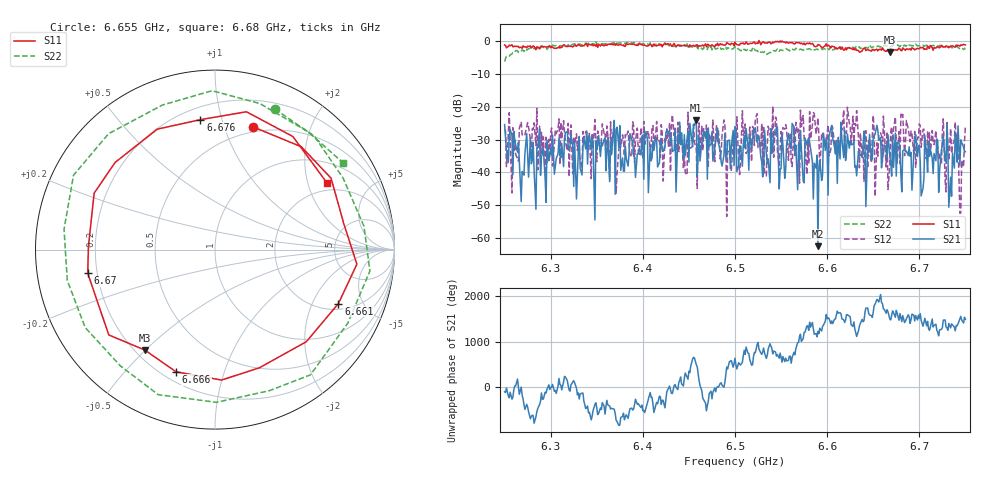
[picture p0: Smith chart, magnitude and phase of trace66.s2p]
# Hz S RI R 50
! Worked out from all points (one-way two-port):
!   401 points, 6.25 GHz to 6.75 GHz, reference 50 ohm
!   highest |S21| = -24.02 dB at 6.458 GHz (marker M1); lowest = -62.5 dB at 6.59 GHz (marker M2)
!   lowest |S11| = -3.3 dB at 6.668 GHz (marker M3), VSWR 5.30, Z = 11.9 - j24.9 ohm
!   |S11| at or under -10 dB: nowhere
!   |S22| runs from -6.2 to -0.1 dB; largest |S21 - S12| = 0.13
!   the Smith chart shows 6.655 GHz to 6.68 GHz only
!   S11 on the Smith chart (normalised r, x): 6.655 GHz: 0.45, +1.25; 6.661 GHz: 2.33, -3.20; 6.666 GHz: 0.25, -0.70; 6.67 GHz: 0.16, -0.09; 6.676 GHz: 0.28, +0.86; 6.68 GHz: 1.70, +2.66
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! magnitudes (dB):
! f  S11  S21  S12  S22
! 6.25 GHz  -1.1  -25.4  -26.8  -6.2
! 6.269 GHz  -2.1  -39.7  -28.5  -2.6
! 6.334 GHz  -1.5  -40.8  -38.8  -1.1
! 6.418 GHz  -1.1  -37.1  -30.3  -0.7
! 6.458 GHz  -1.1  -24.0  -33.0  -1.5
! 6.488 GHz  -1.2  -34.8  -24.0  -2.4
! 6.494 GHz  -0.9  -30.2  -33.4  -2.2
! 6.5 GHz  -0.3  -26.1  -30.6  -1.6
! 6.584 GHz  -0.6  -36.8  -25.5  -2.6
! 6.59 GHz  -1.0  -62.5  -23.4  -2.5
! 6.605 GHz  -1.5  -25.6  -26.0  -2.4
! 6.655 GHz  -2.9  -27.2  -35.1  -1.4
! 6.661 GHz  -2.5  -34.3  -22.8  -1.5
! 6.666 GHz  -2.9  -28.5  -45.2  -1.2
! 6.668 GHz  -3.3  -35.0  -37.7  -1.6
! 6.67 GHz  -2.8  -41.1  -26.1  -1.5
! 6.676 GHz  -2.8  -30.8  -37.2  -1.1
! 6.68 GHz  -2.8  -40.7  -22.3  -1.3
! 6.735 GHz  -1.5  -47.3  -34.2  -1.9
! 6.74 GHz  -1.1  -31.8  -31.3  -1.5
! 6.745 GHz  -1.1  -30.1  -52.4  -2.2
! 6.75 GHz  -1.1  -33.7  -26.0  -2.4
